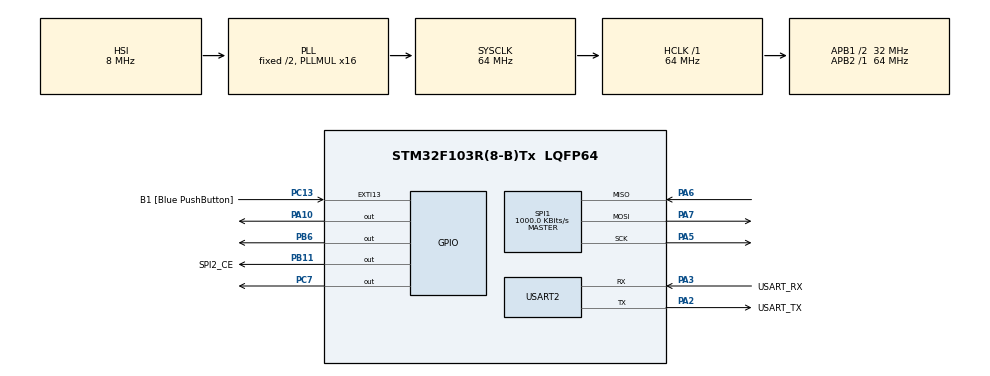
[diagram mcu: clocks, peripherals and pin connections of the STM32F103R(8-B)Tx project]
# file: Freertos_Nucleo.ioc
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FREERTOS.Tasks01=Task_Idle,-3,128,Idle_App,Default,NULL,Dynamic,NULL,NULL;Task_Clignote,0,128,Clignote_App,Default,NULL,Dynamic,NULL,NULL
FREERTOS.configUSE_NEWLIB_REENTRANT=1
Mcu.Family=STM32F1
Mcu.Name=STM32F103R(8-B)Tx
Mcu.Package=LQFP64
NVIC.EXTI15_10_IRQn=true\:5\:0\:false\:false\:true\:true\:true\:true\:true
NVIC.PriorityGroup=NVIC_PRIORITYGROUP_4
NVIC.TIM4_IRQn=true\:15\:0\:false\:false\:true\:false\:false\:true\:true
NVIC.TimeBase=TIM4_IRQn
NVIC.TimeBaseIP=TIM4
PA10.Signal=GPIO_Output
PA13.GPIO_Label=TMS
PA13.Mode=Serial_Wire
PA13.Signal=SYS_JTMS-SWDIO
PA14.GPIO_Label=TCK
PA14.Mode=Serial_Wire
PA14.Signal=SYS_JTCK-SWCLK
PA2.GPIO_Label=USART_TX
PA2.GPIO_Mode=GPIO_MODE_AF_PP
PA2.GPIO_PuPd=GPIO_NOPULL
PA2.GPIO_Speed=GPIO_SPEED_FREQ_LOW
PA2.Mode=Asynchronous
PA2.Signal=USART2_TX
PA3.GPIO_Label=USART_RX
PA3.GPIO_Mode=GPIO_MODE_AF_PP
PA3.GPIO_PuPd=GPIO_NOPULL
PA3.GPIO_Speed=GPIO_SPEED_FREQ_LOW
PA3.Mode=Asynchronous
PA3.Signal=USART2_RX
PA5.Mode=Full_Duplex_Master
PA5.Signal=SPI1_SCK
PA6.Mode=Full_Duplex_Master
PA6.Signal=SPI1_MISO
PA7.Mode=Full_Duplex_Master
PA7.Signal=SPI1_MOSI
PB11.GPIO_Label=SPI2_CE
PB11.Signal=GPIO_Output
PB12.Signal=SPI2_NSS
PB3.GPIO_Label=SWO
PB3.Signal=SYS_JTDO-TRACESWO
PB6.Signal=GPIO_Output
PC13-TAMPER-RTC.GPIO_Label=B1 [Blue PushButton]
PC13-TAMPER-RTC.GPIO_PuPd=GPIO_NOPULL
PC13-TAMPER-RTC.Signal=GPXTI13
PC14-OSC32_IN.Mode=LSE-External-Oscillator
PC14-OSC32_IN.Signal=RCC_OSC32_IN
PC15-OSC32_OUT.Mode=LSE-External-Oscillator
PC15-OSC32_OUT.Signal=RCC_OSC32_OUT
PC7.Signal=GPIO_Output
PD0-OSC_IN.Mode=HSE-External-Clock-Source
PD0-OSC_IN.Signal=RCC_OSC_IN
PD1-OSC_OUT.Mode=HSE-External-Clock-Source
PD1-OSC_OUT.Signal=RCC_OSC_OUT
ProjectManager.HeapSize=0x200
ProjectManager.StackSize=0x400
ProjectManager.TargetToolchain=STM32CubeIDE
RCC.AHBFreq_Value=64000000
RCC.APB1CLKDivider=RCC_HCLK_DIV2
RCC.APB1Freq_Value=32000000
RCC.APB1TimFreq_Value=64000000
RCC.APB2Freq_Value=64000000
RCC.APB2TimFreq_Value=64000000
RCC.HCLKFreq_Value=64000000
RCC.PLLMUL=RCC_PLL_MUL16
RCC.RTCClockSelection=RCC_RTCCLKSOURCE_LSE
RCC.SYSCLKFreq_VALUE=64000000
RCC.SYSCLKSource=RCC_SYSCLKSOURCE_PLLCLK
RCC.USBFreq_Value=64000000
SPI1.BaudRatePrescaler=SPI_BAUDRATEPRESCALER_64
SPI1.CalculateBaudRate=1000.0 KBits/s
SPI1.Direction=SPI_DIRECTION_2LINES
SPI1.Mode=SPI_MODE_MASTER
SPI1.VirtualType=VM_MASTER
USART2.VirtualMode=VM_ASYNC
VP_FREERTOS_VS_CMSIS_V1.Mode=CMSIS_V1
VP_SYS_VS_tim4.Mode=TIM4
board=NUCLEO-F103RB

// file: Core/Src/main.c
/* USER CODE BEGIN Header */
/**
  ******************************************************************************
  * @file           : main.c
  * @brief          : Main program body
  ******************************************************************************
  * @attention
  *
  * Copyright (c) 2022 STMicroelectronics.
  * All rights reserved.
  *
  * This software is licensed under terms that can be found in the LICENSE file
  * in the root directory of this software component.
  * If no LICENSE file comes with this software, it is provided AS-IS.
  *
  ******************************************************************************
  */
/* USER CODE END Header */
#include "main.h"
#include "cmsis_os.h"

/* USER CODE BEGIN Includes */
#include <stdio.h>
#include "nrf24l01.h"
/* USER CODE END Includes */

/* USER CODE BEGIN PD */
#define LED_GREEN_GPIO		GPIOA
#define LED_GREEN_PIN		GPIO_PIN_10
#define BLUE_BUTTON_GPIO	GPIOC
#define BLUE_BUTTON_PIN 	GPIO_PIN_13
#define SPI_CE_GPIO			GPIOC
#define SPI_CE_PIN			GPIO_PIN_7
/* USER CODE END PD */

SPI_HandleTypeDef hspi1;

UART_HandleTypeDef huart2;

osThreadId Task_IdleHandle;
osThreadId Task_ClignoteHandle;

void SystemClock_Config(void);
static void MX_GPIO_Init(void);
static void MX_USART2_UART_Init(void);
static void MX_SPI1_Init(void);
void Idle_App(void const * argument);
void Clignote_App(void const * argument);

/* USER CODE BEGIN 0 */
uint8_t TxAddress[]={0xEE, 0xDD, 0xCC, 0xBB, 0xAA};
uint8_t TxData[]="Hello World";
typedef enum
{
ALLUMER=GPIO_PIN_SET,
ETEINDRE=GPIO_PIN_RESET
}etatled_e;
etatled_e etatled_verte=ETEINDRE;
/* USER CODE END 0 */

int main(void)
{

  /* MCU Configuration--------------------------------------------------------*/

  /* Reset of all peripherals, Initializes the Flash interface and the Systick. */
  HAL_Init();

  /* Configure the system clock */
  SystemClock_Config();

  /* Initialize all configured peripherals */
  MX_GPIO_Init();
  MX_USART2_UART_Init();
  MX_SPI1_Init();
  /* USER CODE BEGIN 2 */

  nrf24_Init();

  nrf24_TxMode(TxAddress, 10);

  //HAL_GPIO_WritePin(SPI_CS_GPIO, SPI_CS_PIN,GPIO_PIN_SET);
  //HAL_Delay(10);
  //uint8_t SPI_Buffer[64];

  //Lire donnИe:
  //HAL_GPIO_WritePin(SPI_CS_GPIO, SPI_CS_PIN,GPIO_PIN_RESET);
  //uint8_t bufferAdress = 0x05;
  //HAL_SPI_Transmit(&hspi, bufferAdress, 1, 10);
  //HAL_SPI_Receive(&hspi1, &SPI_Buffer[0], 1, 10);
  //HAL_GPIO_WritePin(SPI_CS_GPIO, SPI_CS_PIN,GPIO_PIN_SET);

  /* USER CODE END 2 */

  /* Create the thread(s) */
  /* definition and creation of Task_Idle */
  osThreadDef(Task_Idle, Idle_App, osPriorityIdle, 0, 128);
  Task_IdleHandle = osThreadCreate(osThread(Task_Idle), NULL);

  /* definition and creation of Task_Clignote */
  osThreadDef(Task_Clignote, Clignote_App, osPriorityNormal, 0, 128);
  Task_ClignoteHandle = osThreadCreate(osThread(Task_Clignote), NULL);

  /* Start scheduler */
  osKernelStart();

  /* We should never get here as control is now taken by the scheduler */
  /* Infinite loop */
  while (1)
  {

  }
}

void SystemClock_Config(void)
{
  RCC_OscInitTypeDef RCC_OscInitStruct = {0};
  RCC_ClkInitTypeDef RCC_ClkInitStruct = {0};

  /** Initializes the RCC Oscillators according to the specified parameters
  * in the RCC_OscInitTypeDef structure.
  */
  RCC_OscInitStruct.OscillatorType = RCC_OSCILLATORTYPE_HSI;
  RCC_OscInitStruct.HSIState = RCC_HSI_ON;
  RCC_OscInitStruct.HSICalibrationValue = RCC_HSICALIBRATION_DEFAULT;
  RCC_OscInitStruct.PLL.PLLState = RCC_PLL_ON;
  RCC_OscInitStruct.PLL.PLLSource = RCC_PLLSOURCE_HSI_DIV2;
  RCC_OscInitStruct.PLL.PLLMUL = RCC_PLL_MUL16;
  if (HAL_RCC_OscConfig(&RCC_OscInitStruct) != HAL_OK)
  {
    Error_Handler();
  }

  /** Initializes the CPU, AHB and APB buses clocks
  */
  RCC_ClkInitStruct.ClockType = RCC_CLOCKTYPE_HCLK|RCC_CLOCKTYPE_SYSCLK
                              |RCC_CLOCKTYPE_PCLK1|RCC_CLOCKTYPE_PCLK2;
  RCC_ClkInitStruct.SYSCLKSource = RCC_SYSCLKSOURCE_PLLCLK;
  RCC_ClkInitStruct.AHBCLKDivider = RCC_SYSCLK_DIV1;
  RCC_ClkInitStruct.APB1CLKDivider = RCC_HCLK_DIV2;
  RCC_ClkInitStruct.APB2CLKDivider = RCC_HCLK_DIV1;

  if (HAL_RCC_ClockConfig(&RCC_ClkInitStruct, FLASH_LATENCY_2) != HAL_OK)
  {
    Error_Handler();
  }
}

static void MX_SPI1_Init(void)
{

  /* SPI1 parameter configuration*/
  hspi1.Instance = SPI1;
  hspi1.Init.Mode = SPI_MODE_MASTER;
  hspi1.Init.Direction = SPI_DIRECTION_2LINES;
  hspi1.Init.DataSize = SPI_DATASIZE_8BIT;
  hspi1.Init.CLKPolarity = SPI_POLARITY_LOW;
  hspi1.Init.CLKPhase = SPI_PHASE_1EDGE;
  hspi1.Init.NSS = SPI_NSS_SOFT;
  hspi1.Init.BaudRatePrescaler = SPI_BAUDRATEPRESCALER_64;
  hspi1.Init.FirstBit = SPI_FIRSTBIT_MSB;
  hspi1.Init.TIMode = SPI_TIMODE_DISABLE;
  hspi1.Init.CRCCalculation = SPI_CRCCALCULATION_DISABLE;
  hspi1.Init.CRCPolynomial = 10;
  if (HAL_SPI_Init(&hspi1) != HAL_OK)
  {
    Error_Handler();
  }

}

static void MX_USART2_UART_Init(void)
{

  huart2.Instance = USART2;
  huart2.Init.BaudRate = 115200;
  huart2.Init.WordLength = UART_WORDLENGTH_8B;
  huart2.Init.StopBits = UART_STOPBITS_1;
  huart2.Init.Parity = UART_PARITY_NONE;
  huart2.Init.Mode = UART_MODE_TX_RX;
  huart2.Init.HwFlowCtl = UART_HWCONTROL_NONE;
  huart2.Init.OverSampling = UART_OVERSAMPLING_16;
  if (HAL_UART_Init(&huart2) != HAL_OK)
  {
    Error_Handler();
  }

}

static void MX_GPIO_Init(void)
{
  GPIO_InitTypeDef GPIO_InitStruct = {0};

  /* GPIO Ports Clock Enable */
  __HAL_RCC_GPIOC_CLK_ENABLE();
  __HAL_RCC_GPIOD_CLK_ENABLE();
  __HAL_RCC_GPIOA_CLK_ENABLE();
  __HAL_RCC_GPIOB_CLK_ENABLE();

  /*Configure GPIO pin Output Level */
  HAL_GPIO_WritePin(GPIOB, SPI2_CE_Pin|GPIO_PIN_6, GPIO_PIN_RESET);

  /*Configure GPIO pin Output Level */
  HAL_GPIO_WritePin(GPIOC, GPIO_PIN_7, GPIO_PIN_RESET);

  /*Configure GPIO pin Output Level */
  HAL_GPIO_WritePin(GPIOA, GPIO_PIN_10, GPIO_PIN_RESET);

  /*Configure GPIO pin : B1_Pin */
  GPIO_InitStruct.Pin = B1_Pin;
  GPIO_InitStruct.Mode = GPIO_MODE_IT_RISING;
  GPIO_InitStruct.Pull = GPIO_NOPULL;
  HAL_GPIO_Init(B1_GPIO_Port, &GPIO_InitStruct);

  /*Configure GPIO pins : SPI2_CE_Pin PB6 */
  GPIO_InitStruct.Pin = SPI2_CE_Pin|GPIO_PIN_6;
  GPIO_InitStruct.Mode = GPIO_MODE_OUTPUT_PP;
  GPIO_InitStruct.Pull = GPIO_NOPULL;
  GPIO_InitStruct.Speed = GPIO_SPEED_FREQ_LOW;
  HAL_GPIO_Init(GPIOB, &GPIO_InitStruct);

  /*Configure GPIO pin : PB12 */
  GPIO_InitStruct.Pin = GPIO_PIN_12;
  GPIO_InitStruct.Mode = GPIO_MODE_AF_PP;
  GPIO_InitStruct.Speed = GPIO_SPEED_FREQ_HIGH;
  HAL_GPIO_Init(GPIOB, &GPIO_InitStruct);

  /*Configure GPIO pin : PC7 */
  GPIO_InitStruct.Pin = GPIO_PIN_7;
  GPIO_InitStruct.Mode = GPIO_MODE_OUTPUT_PP;
  GPIO_InitStruct.Pull = GPIO_NOPULL;
  GPIO_InitStruct.Speed = GPIO_SPEED_FREQ_LOW;
  HAL_GPIO_Init(GPIOC, &GPIO_InitStruct);

  /*Configure GPIO pin : PA10 */
  GPIO_InitStruct.Pin = GPIO_PIN_10;
  GPIO_InitStruct.Mode = GPIO_MODE_OUTPUT_PP;
  GPIO_InitStruct.Pull = GPIO_NOPULL;
  GPIO_InitStruct.Speed = GPIO_SPEED_FREQ_LOW;
  HAL_GPIO_Init(GPIOA, &GPIO_InitStruct);

  /* EXTI interrupt init*/
  HAL_NVIC_SetPriority(EXTI15_10_IRQn, 5, 0);
  HAL_NVIC_EnableIRQ(EXTI15_10_IRQn);

}

void Idle_App(void const * argument)
{
  /* USER CODE BEGIN 5 */
  /* Infinite loop */
  for(;;)
  {
	//HAL_GPIO_WritePin(LED_GREEN_GPIO, LED_GREEN_PIN, etatled_verte);
    osDelay(1);
  }
  /* USER CODE END 5 */
}

void Clignote_App(void const * argument)
{
  /* USER CODE BEGIN Clignote_App */
  /* Infinite loop */
  for(;;)
  {
    if(HAL_GPIO_ReadPin(BLUE_BUTTON_GPIO, BLUE_BUTTON_PIN)==0){
    	if(verifReg()==10){
    	if(nrf24_Transmit(TxData)==1){
    		//etatled_verte=ALLUMER;
    		HAL_GPIO_TogglePin(LED_GREEN_GPIO, LED_GREEN_PIN);
    	}
    	}
    	//etatled_verte=ALLUMER;
    	//HAL_GPIO_TogglePin(LED_GREEN_GPIO, LED_GREEN_PIN);
    }
    vTaskDelay(200);
  }
  /* USER CODE END Clignote_App */
}

void HAL_TIM_PeriodElapsedCallback(TIM_HandleTypeDef *htim)
{
  if (htim->Instance == TIM4) {
    HAL_IncTick();
  }
}

void Error_Handler(void)
{
  __disable_irq();
  while (1)
  {
  }
}
